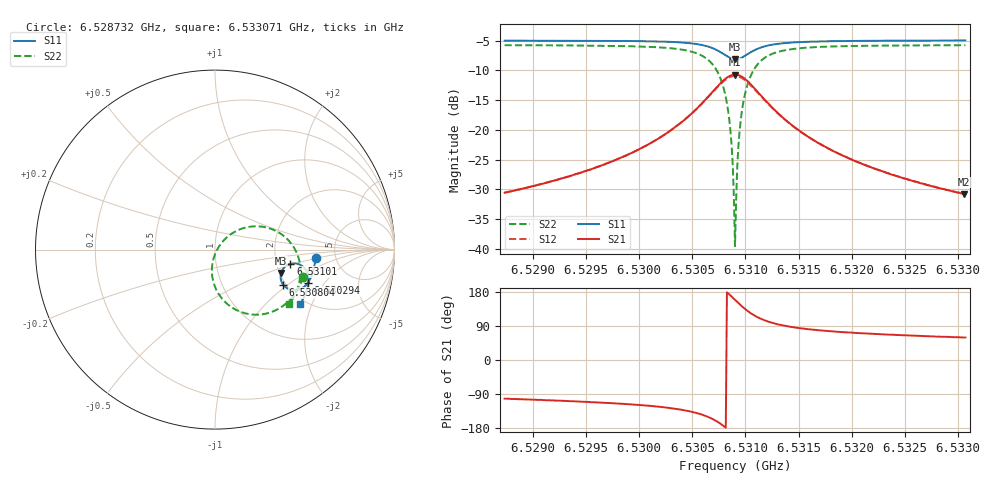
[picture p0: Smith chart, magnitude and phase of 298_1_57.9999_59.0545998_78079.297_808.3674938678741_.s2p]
#  HZ  S  RI  R  50.00
! Rohde & Schwarz Vector Network Analyzer
! Rohde-Schwarz,ZNB20-2Port,1311601062101988,3.16
! Created: UTC 3/21/2024, 1:03:40 AM
! freq[Hz]  re:S11  im:S11  re:S21  im:S21  re:S12  im:S12  re:S22  im:S22
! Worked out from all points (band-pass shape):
!   401 points, 6.528732 GHz to 6.533071 GHz, reference 50 ohm
!   highest |S21| = -10.71 dB at 6.530902 GHz (marker M1); lowest = -30.8 dB at 6.53306 GHz (marker M2)
!   |S21| within 3 dB of the highest: 6.530685 GHz to 6.531119 GHz (434.3 kHz wide, 0.00665 % of centre)
!   lowest |S11| = -8.2 dB at 6.530902 GHz (marker M3), VSWR 2.28, Z = 102 - j31.3 ohm
!   |S11| at or under -10 dB: nowhere
!   |S22| runs from -39.6 to -5.8 dB; largest |S21 - S12| = 0.011
!   S11 on the Smith chart (normalised r, x): 6.528732 GHz: 3.50, -0.45; 6.530294 GHz: 2.59, -1.39; 6.530804 GHz: 1.93, -0.93; 6.53101 GHz: 2.39, -0.46; 6.533071 GHz: 1.85, -1.65
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6.5287323e9  0.56 -0.0443  -0.00614 -0.029  -0.00674 -0.0289  0.4911 -0.1527
6.529459e9  0.5511 -0.1043  -0.0149 -0.0414  -0.0158 -0.0412  0.4619 -0.2184
6.5301857e9  0.5243 -0.175  -0.0468 -0.0709  -0.0487 -0.0699  0.3849 -0.3095
6.5302942e9  0.5155 -0.1879  -0.0593 -0.0788  -0.0613 -0.0772  0.3585 -0.3271
6.5306413e9  0.4494 -0.2265  -0.1608 -0.0951  -0.1627 -0.0886  0.1674 -0.3548
6.5307389e9  0.4088 -0.2194  -0.2232 -0.0669  -0.2222 -0.0578  0.0627 -0.2978
6.530804e9  0.3802 -0.196  -0.2649 -0.0169  -0.2599 -0.00764  6.97e-05 -0.2075
6.5308473e9  0.3677 -0.1699  -0.2806 0.0333  -0.2727 0.0409  -0.0174 -0.1216
6.530869e9  0.3652 -0.1543  -0.2811 0.0618  -0.2722 0.068  -0.0137 -0.0745
6.5308799e9  0.3654 -0.1464  -0.2796 0.0764  -0.2701 0.0819  -0.00854 -0.0511
6.5308907e9  0.3662 -0.1383  -0.2764 0.0908  -0.2666 0.0954  -0.000892 -0.0279
6.5309016e9  0.3681 -0.1304  -0.2718 0.1051  -0.2619 0.1086  0.00894 -0.00557
6.5309233e9  0.3743 -0.1154  -0.2586 0.1316  -0.2485 0.1334  0.0351 0.0356
6.5309341e9  0.3785 -0.1085  -0.2501 0.1436  -0.2403 0.1446  0.0509 0.054
6.5309558e9  0.3888 -0.0966  -0.2305 0.1641  -0.2214 0.1639  0.0865 0.0848
6.53101e9  0.4201 -0.0791  -0.1733 0.1955  -0.1669 0.1928  0.1858 0.1261
6.531086e9  0.4609 -0.0793  -0.1019 0.198  -0.0983 0.1953  0.3061 0.1177
6.5311944e9  0.4966 -0.101  -0.0399 0.1694  -0.0382 0.1677  0.4065 0.0545
6.5316283e9  0.5212 -0.1793  0.0142 0.0821  0.0152 0.0818  0.4766 -0.1294
6.532355e9  0.5019 -0.2516  0.0168 0.0393  0.0175 0.0392  0.4488 -0.244
6.53306e9  0.4749 -0.3038  0.0147 0.0248  0.0153 0.0245  0.4146 -0.304
6.5330708e9  0.4745 -0.3046  0.0147 0.0249  0.0152 0.0244  0.4139 -0.3051
